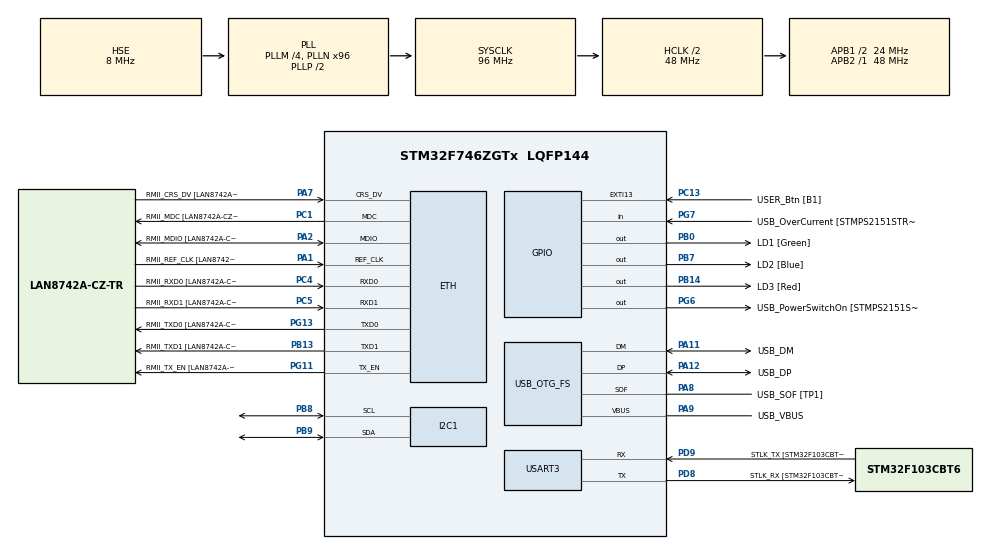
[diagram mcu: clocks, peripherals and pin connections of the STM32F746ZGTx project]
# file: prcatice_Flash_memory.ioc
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CORTEX_M7.default_mode_Activation=1
ETH.MediaInterface=HAL_ETH_RMII_MODE
ETH.PHY_Name=LAN8742A_PHY_ADDRESS
ETH.PHY_Value=0
ETH.PhyAddress=0
I2C1.Timing=0x00506682
Mcu.Family=STM32F7
Mcu.Name=STM32F746ZGTx
Mcu.Package=LQFP144
NVIC.OTG_FS_IRQn=true\:0\:0\:false\:false\:true\:false\:true\:true
NVIC.PriorityGroup=NVIC_PRIORITYGROUP_4
PA1.GPIO_Label=RMII_REF_CLK [LAN8742A-CZ-TR_REFCLK0]
PA1.Mode=RMII
PA1.Signal=ETH_REF_CLK
PA10.GPIO_Label=USB_ID
PA10.Signal=USB_OTG_FS_ID
PA11.GPIO_Label=USB_DM
PA11.Mode=Device_Only
PA11.Signal=USB_OTG_FS_DM
PA12.GPIO_Label=USB_DP
PA12.Mode=Device_Only
PA12.Signal=USB_OTG_FS_DP
PA13.GPIO_Label=TMS
PA13.Mode=Serial_Wire
PA13.Signal=SYS_JTMS-SWDIO
PA14.GPIO_Label=TCK
PA14.Mode=Serial_Wire
PA14.Signal=SYS_JTCK-SWCLK
PA2.GPIO_Label=RMII_MDIO [LAN8742A-CZ-TR_MDIO]
PA2.Mode=RMII
PA2.Signal=ETH_MDIO
PA7.GPIO_Label=RMII_CRS_DV [LAN8742A-CZ-TR_CRS_DV]
PA7.Mode=RMII
PA7.Signal=ETH_CRS_DV
PA8.GPIO_Label=USB_SOF [TP1]
PA8.Mode=Activate_SOF_FS
PA8.Signal=USB_OTG_FS_SOF
PA9.GPIO_Label=USB_VBUS
PA9.Mode=Activate_VBUS
PA9.Signal=USB_OTG_FS_VBUS
PB0.GPIO_Label=LD1 [Green]
PB0.Signal=GPIO_Output
PB13.GPIO_Label=RMII_TXD1 [LAN8742A-CZ-TR_TXD1]
PB13.Mode=RMII
PB13.Signal=ETH_TXD1
PB14.GPIO_Label=LD3 [Red]
PB14.Signal=GPIO_Output
PB3.GPIO_Label=SW0
PB3.Signal=SYS_JTDO-SWO
PB7.GPIO_Label=LD2 [Blue]
PB7.Signal=GPIO_Output
PB8.Mode=I2C
PB8.Signal=I2C1_SCL
PB9.Mode=I2C
PB9.Signal=I2C1_SDA
PC1.GPIO_Label=RMII_MDC [LAN8742A-CZ-TR_MDC]
PC1.Mode=RMII
PC1.Signal=ETH_MDC
PC13.GPIO_Label=USER_Btn [B1]
PC13.Signal=GPXTI13
PC14/OSC32_IN.Mode=LSE-External-Oscillator
PC14/OSC32_IN.Signal=RCC_OSC32_IN
PC15/OSC32_OUT.Mode=LSE-External-Oscillator
PC15/OSC32_OUT.Signal=RCC_OSC32_OUT
PC4.GPIO_Label=RMII_RXD0 [LAN8742A-CZ-TR_RXD0]
PC4.Mode=RMII
PC4.Signal=ETH_RXD0
PC5.GPIO_Label=RMII_RXD1 [LAN8742A-CZ-TR_RXD1]
PC5.Mode=RMII
PC5.Signal=ETH_RXD1
PD8.GPIO_Label=STLK_RX [STM32F103CBT6_PA3]
PD8.GPIO_PuPd=GPIO_PULLUP
PD8.Mode=Asynchronous
PD8.Signal=USART3_TX
PD9.GPIO_Label=STLK_TX [STM32F103CBT6_PA2]
PD9.GPIO_PuPd=GPIO_PULLUP
PD9.Mode=Asynchronous
PD9.Signal=USART3_RX
PG11.GPIO_Label=RMII_TX_EN [LAN8742A-CZ-TR_TXEN]
PG11.Mode=RMII
PG11.Signal=ETH_TX_EN
PG13.GPIO_Label=RMII_TXD0 [LAN8742A-CZ-TR_TXD0]
PG13.Mode=RMII
PG13.Signal=ETH_TXD0
PG6.GPIO_Label=USB_PowerSwitchOn [STMPS2151STR_EN]
PG6.Signal=GPIO_Output
PG7.GPIO_Label=USB_OverCurrent [STMPS2151STR_FAULT]
PG7.Signal=GPIO_Input
PH0/OSC_IN.GPIO_Label=MCO [STM32F103CBT6_PA8]
PH0/OSC_IN.Mode=HSE-External-Clock-Source
PH0/OSC_IN.Signal=RCC_OSC_IN
PH1/OSC_OUT.Mode=HSE-External-Clock-Source
PH1/OSC_OUT.Signal=RCC_OSC_OUT
ProjectManager.HeapSize=0x200
ProjectManager.StackSize=0x400
ProjectManager.TargetToolchain=STM32CubeIDE
RCC.48MHZClocksFreq_Value=24000000
RCC.AHBCLKDivider=RCC_SYSCLK_DIV2
RCC.AHBFreq_Value=48000000
RCC.APB1CLKDivider=RCC_HCLK_DIV2
RCC.APB1Freq_Value=24000000
RCC.APB1TimFreq_Value=48000000
RCC.APB2Freq_Value=48000000
RCC.APB2TimFreq_Value=48000000
RCC.CortexFreq_Value=48000000
RCC.HCLKFreq_Value=48000000
RCC.HSE_VALUE=8000000
RCC.HSI_VALUE=16000000
RCC.PLLM=4
RCC.PLLMUL=RCC_PLL_MUL9
RCC.PLLN=96
RCC.PLLQ=4
RCC.PRESCALERUSB=RCC_USBCLKSOURCE_PLL_DIV1_5
RCC.SYSCLKFreq_VALUE=96000000
RCC.SYSCLKSource=RCC_SYSCLKSOURCE_PLLCLK
RCC.SYSCLKSourceVirtual=RCC_SYSCLKSOURCE_PLLCLK
RCC.USBFreq_Value=48000000
RCC.VCOOutputFreq_Value=192000000
USART3.VirtualMode-Asynchronous=VM_ASYNC
USB_DEVICE.CLASS_NAME_FS=CDC
USB_DEVICE.VirtualMode-CDC_FS=Cdc
USB_DEVICE.VirtualModeFS=Cdc_FS
USB_OTG_FS.VirtualMode=Device_Only
VP_USB_DEVICE_VS_USB_DEVICE_CDC_FS.Mode=CDC_FS
board=NUCLEO-F746ZG

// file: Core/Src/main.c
/* USER CODE BEGIN Header */
/**
  ******************************************************************************
  * @file           : main.c
  * @brief          : Main program body
  ******************************************************************************
  * @attention
  *
  * Copyright (c) 2026 STMicroelectronics.
  * All rights reserved.
  *
  * This software is licensed under terms that can be found in the LICENSE file
  * in the root directory of this software component.
  * If no LICENSE file comes with this software, it is provided AS-IS.
  *
  ******************************************************************************
  */
/* USER CODE END Header */
#include "main.h"
#include "eth.h"
#include "i2c.h"
#include "usart.h"
#include "usb_device.h"
#include "gpio.h"

/* USER CODE BEGIN Includes */
#include "usbd_cdc_if.h"
#include "string.h"
#include "stdio.h"
/* USER CODE END Includes */

/* USER CODE BEGIN PD */
#define SW (!HAL_GPIO_ReadPin(GPIOC, GPIO_PIN_13))
#define BUF_LEN 16
#define ADDR_FLASH_SECTOR_4 ((uint32_t)0x08010000)
/* USER CODE END PD */

/* USER CODE BEGIN PV */
uint8_t oldSw, mode;
char *DATA2 = "123456789AB!";
uint32_t Rx_Data[BUF_LEN];
char string[64];
/* USER CODE END PV */

void SystemClock_Config(void);
static void MPU_Config(void);

/* USER CODE BEGIN 0 */
void FLASH_erase(uint32_t SectorNumber) {
    // 🚨 = {0} 을 추가하여 구조체를 깨끗하게 초기화합니다!
    FLASH_EraseInitTypeDef EraseInitStruct = {0};
    uint32_t SECTORError = 0;

    EraseInitStruct.TypeErase     = FLASH_TYPEERASE_SECTORS;
    EraseInitStruct.VoltageRange  = FLASH_VOLTAGE_RANGE_3;
    EraseInitStruct.Sector        = SectorNumber;
    EraseInitStruct.NbSectors     = 1;

    HAL_FLASHEx_Erase(&EraseInitStruct, &SECTORError);
}

uint32_t Flash_Write_Data (uint32_t StartSectorAddr, uint32_t *Data, uint16_t number) {
    uint8_t arr=0;
    uint16_t numWords = (number/4)+((number%4)!=0);

    HAL_FLASH_Unlock();
    FLASH_erase(FLASH_SECTOR_7);

    while (arr < numWords) {
        if (HAL_FLASH_Program(FLASH_TYPEPROGRAM_WORD, StartSectorAddr, Data[arr]) == HAL_OK) {
            StartSectorAddr += 4;
            arr++;
        } else {
            // 🚨 에러가 발생해도 다시 잠가주도록 수정
            HAL_FLASH_Lock();
            return HAL_FLASH_GetError ();
        }
    }
    HAL_FLASH_Lock();
    return 0;
}

void Flash_Read_Data (uint32_t StartPageAddr, uint32_t *RxBuf, uint16_t numberofwords) {
    while (1) {
        *RxBuf = *(__IO uint32_t *)StartPageAddr;
        StartPageAddr += 4;
        RxBuf++;
        if (!(numberofwords--)) break;
    }
}

void Convert_To_Str (uint32_t *Data, char *Buf) {
    int numberofbytes = ((strlen((char *)Data)/4) + ((strlen((char *)Data) % 4) != 0)) * 4;
    for (int i=0; i<numberofbytes; i++) {
        Buf[i] = Data[i/4]>>(8*(i%4));
    }
}
/* USER CODE END 0 */

int main(void)
{

  /* MPU Configuration--------------------------------------------------------*/
  MPU_Config();

  /* MCU Configuration--------------------------------------------------------*/

  /* Reset of all peripherals, Initializes the Flash interface and the Systick. */
  HAL_Init();

  /* Configure the system clock */
  SystemClock_Config();

  /* Initialize all configured peripherals */
  MX_GPIO_Init();
  MX_ETH_Init();
  MX_I2C1_Init();
  MX_USART3_UART_Init();
  MX_USB_DEVICE_Init();

  /* Infinite loop */
  /* USER CODE BEGIN WHILE */
  while (1)
  {
	  if((SW != oldSw) && SW){ // 스위치가 눌렸을 때
			mode=1; // SET
			HAL_GPIO_TogglePin(GPIOB, GPIO_PIN_7);
			HAL_Delay(50); // 디바운싱(버튼 튀는 현상 방지) 추가
		}
		oldSw=SW;

		if(mode==1)
		  {
			  __disable_irq();

			  // 🚨 강제 변환 없이 DATA2 배열을 그대로 전달
			  Flash_Write_Data((uint32_t)0x080C0000, DATA2, 12);
			  SCB_CleanInvalidateDCache();
			  Flash_Read_Data((uint32_t)0x080C0000, Rx_Data, 12);

			  __enable_irq();

			  memset(string, 0, 64);
			  memcpy(string, Rx_Data, 12);
			  CDC_Transmit_FS((uint8_t*)string, 12);

			  mode=0; // RESET
		  }
		HAL_Delay(10);
    /* USER CODE END WHILE */

  }
}

void SystemClock_Config(void)
{
  RCC_OscInitTypeDef RCC_OscInitStruct = {0};
  RCC_ClkInitTypeDef RCC_ClkInitStruct = {0};

  /** Configure LSE Drive Capability
  */
  HAL_PWR_EnableBkUpAccess();

  /** Configure the main internal regulator output voltage
  */
  __HAL_RCC_PWR_CLK_ENABLE();
  __HAL_PWR_VOLTAGESCALING_CONFIG(PWR_REGULATOR_VOLTAGE_SCALE3);

  /** Initializes the RCC Oscillators according to the specified parameters
  * in the RCC_OscInitTypeDef structure.
  */
  RCC_OscInitStruct.OscillatorType = RCC_OSCILLATORTYPE_HSE;
  RCC_OscInitStruct.HSEState = RCC_HSE_BYPASS;
  RCC_OscInitStruct.PLL.PLLState = RCC_PLL_ON;
  RCC_OscInitStruct.PLL.PLLSource = RCC_PLLSOURCE_HSE;
  RCC_OscInitStruct.PLL.PLLM = 4;
  RCC_OscInitStruct.PLL.PLLN = 96;
  RCC_OscInitStruct.PLL.PLLP = RCC_PLLP_DIV2;
  RCC_OscInitStruct.PLL.PLLQ = 4;
  if (HAL_RCC_OscConfig(&RCC_OscInitStruct) != HAL_OK)
  {
    Error_Handler();
  }

  /** Initializes the CPU, AHB and APB buses clocks
  */
  RCC_ClkInitStruct.ClockType = RCC_CLOCKTYPE_HCLK|RCC_CLOCKTYPE_SYSCLK
                              |RCC_CLOCKTYPE_PCLK1|RCC_CLOCKTYPE_PCLK2;
  RCC_ClkInitStruct.SYSCLKSource = RCC_SYSCLKSOURCE_PLLCLK;
  RCC_ClkInitStruct.AHBCLKDivider = RCC_SYSCLK_DIV2;
  RCC_ClkInitStruct.APB1CLKDivider = RCC_HCLK_DIV2;
  RCC_ClkInitStruct.APB2CLKDivider = RCC_HCLK_DIV1;

  if (HAL_RCC_ClockConfig(&RCC_ClkInitStruct, FLASH_LATENCY_1) != HAL_OK)
  {
    Error_Handler();
  }
}

 /* MPU Configuration */

void MPU_Config(void)
{
  MPU_Region_InitTypeDef MPU_InitStruct = {0};

  /* Disables the MPU */
  HAL_MPU_Disable();

  /** Initializes and configures the Region and the memory to be protected
  */
  MPU_InitStruct.Enable = MPU_REGION_ENABLE;
  MPU_InitStruct.Number = MPU_REGION_NUMBER0;
  MPU_InitStruct.BaseAddress = 0x0;
  MPU_InitStruct.Size = MPU_REGION_SIZE_4GB;
  MPU_InitStruct.SubRegionDisable = 0x87;
  MPU_InitStruct.TypeExtField = MPU_TEX_LEVEL0;
  MPU_InitStruct.AccessPermission = MPU_REGION_NO_ACCESS;
  MPU_InitStruct.DisableExec = MPU_INSTRUCTION_ACCESS_DISABLE;
  MPU_InitStruct.IsShareable = MPU_ACCESS_SHAREABLE;
  MPU_InitStruct.IsCacheable = MPU_ACCESS_NOT_CACHEABLE;
  MPU_InitStruct.IsBufferable = MPU_ACCESS_NOT_BUFFERABLE;

  HAL_MPU_ConfigRegion(&MPU_InitStruct);
  /* Enables the MPU */
  HAL_MPU_Enable(MPU_PRIVILEGED_DEFAULT);

}

void Error_Handler(void)
{
  __disable_irq();
  while (1)
  {
  }
}
